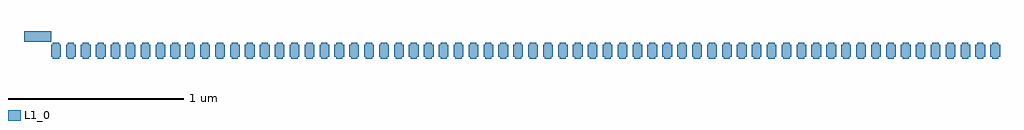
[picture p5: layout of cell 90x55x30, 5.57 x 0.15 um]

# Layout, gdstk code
import gdstk
lib = gdstk.Library(unit=1e-6, precision=1e-09)
def R(c, l, rs):  # rectangles x0, y0, x1, y1
    for r in rs: c.add(gdstk.rectangle(r[:2], r[2:], *l))
def P(c, l, *ps):  # polygons
    for p in ps: c.add(gdstk.Polygon(p, *l))
L1_0 = (1, 0)

c_90x55single = lib.new_cell('90x55single')
P(c_90x55single, L1_0, [(0,0),(0.01,0),(0.01,-0.01),(0.045,-0.01),(0.045,0),(0.055,0),(0.055,0.07),(0.045,0.07),(0.045,0.08),(0.01,0.08),(0.01,0.07),(0,0.07)])

c_90x55x30 = lib.new_cell('90x55x30')
R(c_90x55x30, L1_0, [(-0.155,0.095,0,0.155)])
r = gdstk.Reference(c_90x55single, (0,0.01)); r.repetition = gdstk.Repetition(64, 1, v1=(0.085,0), v2=(0,0)); c_90x55x30.add(r)

lib.write_gds('90x55x30.gds')
